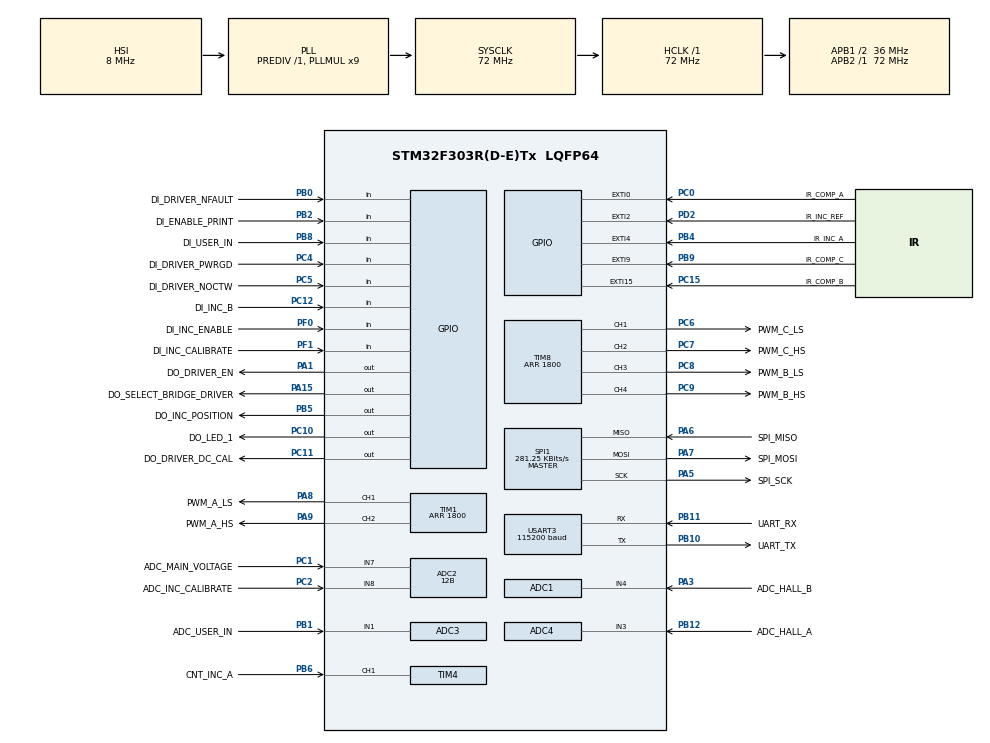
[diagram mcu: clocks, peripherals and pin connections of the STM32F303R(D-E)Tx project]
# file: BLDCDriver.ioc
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ADC1.Channel-0\#ChannelRegularConversion=ADC_CHANNEL_4
ADC1.ClockPrescaler=ADC_CLOCK_ASYNC_DIV1
ADC1.ContinuousConvMode=ENABLE
ADC1.DMAContinuousRequests=ENABLE
ADC1.DataAlign=ADC_DATAALIGN_RIGHT
ADC1.DiscontinuousConvMode=DISABLE
ADC1.EOCSelection=ADC_EOC_SEQ_CONV
ADC1.EnableAnalogWatchDog1=false
ADC1.EnableAnalogWatchDog2=false
ADC1.EnableAnalogWatchDog3=false
ADC1.EnableInjectedConversion=DISABLE
ADC1.EnableRegularConversion=ENABLE
ADC1.ExternalTrigConv=ADC_SOFTWARE_START
ADC1.ExternalTrigConvEdge=ADC_EXTERNALTRIGCONVEDGE_NONE
ADC1.LowPowerAutoWait=DISABLE
ADC1.NbrOfConversion=1
ADC1.NbrOfConversionFlag=1
ADC1.Offset-0\#ChannelRegularConversion=0
ADC1.OffsetNumber-0\#ChannelRegularConversion=ADC_OFFSET_NONE
ADC1.Overrun=ADC_OVR_DATA_OVERWRITTEN
ADC1.Rank-0\#ChannelRegularConversion=1
ADC1.Resolution=ADC_RESOLUTION_12B
ADC1.SamplingTime-0\#ChannelRegularConversion=ADC_SAMPLETIME_601CYCLES_5
ADC1.ScanConvMode=ADC_SCAN_DISABLE
ADC1.master=1
ADC2.Channel-0\#ChannelRegularConversion=ADC_CHANNEL_7
ADC2.Channel-1\#ChannelRegularConversion=ADC_CHANNEL_8
ADC2.ClockPrescaler=ADC_CLOCK_ASYNC_DIV1
ADC2.ContinuousConvMode=DISABLE
ADC2.DMAContinuousRequests=DISABLE
ADC2.DataAlign=ADC_DATAALIGN_RIGHT
ADC2.DiscontinuousConvMode=DISABLE
ADC2.EOCSelection=ADC_EOC_SINGLE_CONV
ADC2.EnableAnalogWatchDog1=false
ADC2.EnableAnalogWatchDog2=false
ADC2.EnableAnalogWatchDog3=false
ADC2.EnableInjectedConversion=ENABLE
ADC2.EnableRegularConversion=ENABLE
ADC2.ExternalTrigConv=ADC_SOFTWARE_START
ADC2.ExternalTrigConvEdge=ADC_EXTERNALTRIGCONVEDGE_NONE
ADC2.InjNumberOfConversion=0
ADC2.LowPowerAutoWait=DISABLE
ADC2.NbrOfConversion=2
ADC2.NbrOfConversionFlag=1
ADC2.Offset-0\#ChannelRegularConversion=0
ADC2.Offset-1\#ChannelRegularConversion=0
ADC2.OffsetNumber-0\#ChannelRegularConversion=ADC_OFFSET_NONE
ADC2.OffsetNumber-1\#ChannelRegularConversion=ADC_OFFSET_NONE
ADC2.Overrun=ADC_OVR_DATA_OVERWRITTEN
ADC2.Rank-0\#ChannelRegularConversion=1
ADC2.Rank-1\#ChannelRegularConversion=2
ADC2.Resolution=ADC_RESOLUTION_12B
ADC2.SamplingTime-0\#ChannelRegularConversion=ADC_SAMPLETIME_601CYCLES_5
ADC2.SamplingTime-1\#ChannelRegularConversion=ADC_SAMPLETIME_601CYCLES_5
ADC2.ScanConvMode=ADC_SCAN_ENABLE
ADC3.Channel-64\#ChannelRegularConversion=ADC_CHANNEL_1
ADC3.NbrOfConversionFlag=1
ADC3.Offset-64\#ChannelRegularConversion=0
ADC3.OffsetNumber-64\#ChannelRegularConversion=ADC_OFFSET_NONE
ADC3.Rank-64\#ChannelRegularConversion=1
ADC3.SamplingTime-64\#ChannelRegularConversion=ADC_SAMPLETIME_1CYCLE_5
ADC3.master=1
ADC4.Channel-0\#ChannelRegularConversion=ADC_CHANNEL_3
ADC4.ClockPrescaler=ADC_CLOCK_ASYNC_DIV1
ADC4.ContinuousConvMode=ENABLE
ADC4.DMAContinuousRequests=ENABLE
ADC4.DataAlign=ADC_DATAALIGN_RIGHT
ADC4.DiscontinuousConvMode=DISABLE
ADC4.EOCSelection=ADC_EOC_SEQ_CONV
ADC4.EnableAnalogWatchDog1=false
ADC4.EnableAnalogWatchDog2=false
ADC4.EnableAnalogWatchDog3=false
ADC4.EnableInjectedConversion=DISABLE
ADC4.EnableRegularConversion=ENABLE
ADC4.ExternalTrigConv=ADC_SOFTWARE_START
ADC4.ExternalTrigConvEdge=ADC_EXTERNALTRIGCONVEDGE_NONE
ADC4.LowPowerAutoWait=DISABLE
ADC4.NbrOfConversion=1
ADC4.NbrOfConversionFlag=1
ADC4.Offset-0\#ChannelRegularConversion=0
ADC4.OffsetNumber-0\#ChannelRegularConversion=ADC_OFFSET_NONE
ADC4.Overrun=ADC_OVR_DATA_OVERWRITTEN
ADC4.Rank-0\#ChannelRegularConversion=1
ADC4.Resolution=ADC_RESOLUTION_12B
ADC4.SamplingTime-0\#ChannelRegularConversion=ADC_SAMPLETIME_601CYCLES_5
ADC4.ScanConvMode=ADC_SCAN_DISABLE
Dma.ADC1.1.Direction=DMA_PERIPH_TO_MEMORY
Dma.ADC1.1.Instance=DMA1_Channel1
Dma.ADC1.1.MemDataAlignment=DMA_MDATAALIGN_WORD
Dma.ADC1.1.MemInc=DMA_MINC_ENABLE
Dma.ADC1.1.Mode=DMA_NORMAL
Dma.ADC1.1.PeriphDataAlignment=DMA_PDATAALIGN_WORD
Dma.ADC1.1.PeriphInc=DMA_PINC_DISABLE
Dma.ADC1.1.Priority=DMA_PRIORITY_LOW
Dma.ADC4.0.Direction=DMA_PERIPH_TO_MEMORY
Dma.ADC4.0.Instance=DMA2_Channel2
Dma.ADC4.0.MemDataAlignment=DMA_MDATAALIGN_WORD
Dma.ADC4.0.MemInc=DMA_MINC_ENABLE
Dma.ADC4.0.Mode=DMA_NORMAL
Dma.ADC4.0.PeriphDataAlignment=DMA_PDATAALIGN_WORD
Dma.ADC4.0.PeriphInc=DMA_PINC_DISABLE
Dma.ADC4.0.Priority=DMA_PRIORITY_LOW
Dma.Request0=ADC4
Dma.Request1=ADC1
Mcu.Family=STM32F3
Mcu.Name=STM32F303R(D-E)Tx
Mcu.Package=LQFP64
NVIC.ADC1_2_IRQn=true\:0\:0\:false\:false\:true\:true
NVIC.ADC3_IRQn=true\:0\:0\:false\:false\:true\:true
NVIC.DMA1_Channel1_IRQn=true\:0\:0\:false\:false\:true\:false
NVIC.DMA2_Channel2_IRQn=true\:0\:0\:false\:false\:true\:false
NVIC.EXTI0_IRQn=true\:0\:0\:false\:false\:true\:true
NVIC.EXTI15_10_IRQn=true\:0\:0\:false\:false\:true\:true
NVIC.EXTI2_TSC_IRQn=true\:0\:0\:false\:false\:true\:true
NVIC.EXTI4_IRQn=true\:0\:0\:false\:false\:true\:true
NVIC.EXTI9_5_IRQn=true\:0\:0\:false\:false\:true\:true
NVIC.PriorityGroup=NVIC_PRIORITYGROUP_4
NVIC.TIM1_UP_TIM16_IRQn=true\:0\:0\:false\:false\:true\:true
NVIC.TIM2_IRQn=true\:0\:0\:false\:false\:true\:true
NVIC.USART3_IRQn=true\:0\:0\:false\:false\:true\:true
PA1.GPIO_Label=DO_DRIVER_EN
PA1.Signal=GPIO_Output
PA13.Mode=Trace_Asynchronous_SW
PA13.Signal=SYS_JTMS-SWDIO
PA14.Mode=Trace_Asynchronous_SW
PA14.Signal=SYS_JTCK-SWCLK
PA15.GPIO_Label=DO_SELECT_BRIDGE_DRIVER
PA15.Signal=GPIO_Output
PA3.GPIO_Label=ADC_HALL_B
PA3.Mode=IN4-Single-Ended
PA3.Signal=ADC1_IN4
PA5.GPIO_Label=SPI_SCK
PA5.Mode=Full_Duplex_Master
PA5.Signal=SPI1_SCK
PA6.GPIO_Label=SPI_MISO
PA6.Mode=Full_Duplex_Master
PA6.Signal=SPI1_MISO
PA7.GPIO_Label=SPI_MOSI
PA7.Mode=Full_Duplex_Master
PA7.Signal=SPI1_MOSI
PA8.GPIO_Label=PWM_A_LS
PA8.Signal=S_TIM1_CH1
PA9.GPIO_Label=PWM_A_HS
PA9.Signal=S_TIM1_CH2
PB0.GPIO_Label=DI_DRIVER_NFAULT
PB0.Signal=GPIO_Input
PB1.GPIO_Label=ADC_USER_IN
PB1.Mode=IN1-Single-Ended
PB1.Signal=ADC3_IN1
PB10.GPIO_Label=UART_TX
PB10.Mode=Asynchronous
PB10.Signal=USART3_TX
PB11.GPIO_Label=UART_RX
PB11.Mode=Asynchronous
PB11.Signal=USART3_RX
PB12.GPIO_Label=ADC_HALL_A
PB12.Mode=IN3-Single-Ended
PB12.Signal=ADC4_IN3
PB2.GPIO_Label=DI_ENABLE_PRINT
PB2.Signal=GPIO_Input
PB3.Mode=Trace_Asynchronous_SW
PB3.Signal=SYS_JTDO-TRACESWO
PB4.GPIO_Label=IR_INC_A
PB4.Signal=GPXTI4
PB5.GPIO_Label=DO_INC_POSITION
PB5.Signal=GPIO_Output
PB6.GPIO_Label=CNT_INC_A
PB6.Signal=S_TIM4_CH1
PB8.GPIO_Label=DI_USER_IN
PB8.Signal=GPIO_Input
PB9.GPIO_Label=IR_COMP_C
PB9.GPIO_ModeDefaultEXTI=GPIO_MODE_IT_RISING_FALLING
PB9.Signal=GPXTI9
PC0.GPIO_Label=IR_COMP_A
PC0.GPIO_ModeDefaultEXTI=GPIO_MODE_IT_RISING_FALLING
PC0.Signal=GPXTI0
PC1.GPIO_Label=ADC_MAIN_VOLTAGE
PC1.Signal=ADCx_IN7
PC10.GPIO_Label=DO_LED_1
PC10.Signal=GPIO_Output
PC11.GPIO_Label=DO_DRIVER_DC_CAL
PC11.Signal=GPIO_Output
PC12.GPIO_Label=DI_INC_B
PC12.Signal=GPIO_Input
PC15-OSC32_OUT.GPIO_Label=IR_COMP_B
PC15-OSC32_OUT.GPIO_ModeDefaultEXTI=GPIO_MODE_IT_RISING_FALLING
PC15-OSC32_OUT.Signal=GPXTI15
PC2.GPIO_Label=ADC_INC_CALIBRATE
PC2.Signal=ADCx_IN8
PC4.GPIO_Label=DI_DRIVER_PWRGD
PC4.Signal=GPIO_Input
PC5.GPIO_Label=DI_DRIVER_NOCTW
PC5.Signal=GPIO_Input
PC6.GPIO_Label=PWM_C_LS
PC6.Signal=S_TIM8_CH1
PC7.GPIO_Label=PWM_C_HS
PC7.Signal=S_TIM8_CH2
PC8.GPIO_Label=PWM_B_LS
PC8.Signal=S_TIM8_CH3
PC9.GPIO_Label=PWM_B_HS
PC9.Signal=S_TIM8_CH4
PD2.GPIO_Label=IR_INC_REF
PD2.Signal=GPXTI2
PF0-OSC_IN.GPIO_Label=DI_INC_ENABLE
PF0-OSC_IN.Signal=GPIO_Input
PF1-OSC_OUT.GPIO_Label=DI_INC_CALIBRATE
PF1-OSC_OUT.Signal=GPIO_Input
ProjectManager.HeapSize=0x200
ProjectManager.StackSize=0x400
ProjectManager.TargetToolchain=SW4STM32
RCC.AHBFreq_Value=72000000
RCC.APB1CLKDivider=RCC_HCLK_DIV2
RCC.APB1Freq_Value=36000000
RCC.APB1TimFreq_Value=72000000
RCC.APB2Freq_Value=72000000
RCC.APB2TimFreq_Value=72000000
RCC.CortexFreq_Value=72000000
RCC.HCLKFreq_Value=72000000
RCC.HSE_VALUE=8000000
RCC.HSI_VALUE=8000000
RCC.LSE_VALUE=32768
RCC.PLLMUL=RCC_PLL_MUL9
RCC.SYSCLKFreq_VALUE=72000000
RCC.SYSCLKSourceVirtual=RCC_SYSCLKSOURCE_PLLCLK
RCC.USBFreq_Value=72000000
SH.ADCx_IN7.0=ADC2_IN7,IN7-Single-Ended
SH.ADCx_IN8.0=ADC2_IN8,IN8-Single-Ended
SH.S_TIM1_CH1.0=TIM1_CH1,PWM Generation1 CH1
SH.S_TIM1_CH2.0=TIM1_CH2,PWM Generation2 CH2
SH.S_TIM4_CH1.0=TIM4_CH1,TriggerSource_TI1FP1
SH.S_TIM8_CH1.0=TIM8_CH1,PWM Generation1 CH1
SH.S_TIM8_CH2.0=TIM8_CH2,PWM Generation2 CH2
SH.S_TIM8_CH3.0=TIM8_CH3,PWM Generation3 CH3
SH.S_TIM8_CH4.0=TIM8_CH4,PWM Generation4 CH4
SPI1.BaudRatePrescaler=SPI_BAUDRATEPRESCALER_256
SPI1.CalculateBaudRate=281.25 KBits/s
SPI1.DataSize=SPI_DATASIZE_8BIT
SPI1.Direction=SPI_DIRECTION_2LINES
SPI1.Mode=SPI_MODE_MASTER
SPI1.VirtualType=VM_MASTER
TIM1.Channel-PWM\ Generation1\ CH1=TIM_CHANNEL_1
TIM1.Channel-PWM\ Generation2\ CH2=TIM_CHANNEL_2
TIM1.CounterMode=TIM_COUNTERMODE_CENTERALIGNED3
TIM1.Period=1800
TIM1.Pulse-PWM\ Generation1\ CH1=900
TIM1.Pulse-PWM\ Generation2\ CH2=900
TIM2.Period=0xFFFFFFFF
TIM2.Prescaler=72
TIM8.Channel-PWM\ Generation1\ CH1=TIM_CHANNEL_1
TIM8.Channel-PWM\ Generation2\ CH2=TIM_CHANNEL_2
TIM8.Channel-PWM\ Generation3\ CH3=TIM_CHANNEL_3
TIM8.Channel-PWM\ Generation4\ CH4=TIM_CHANNEL_4
TIM8.CounterMode=TIM_COUNTERMODE_CENTERALIGNED3
TIM8.Period=1800
TIM8.Pulse-PWM\ Generation1\ CH1=900
TIM8.Pulse-PWM\ Generation3\ CH3=900
USART3.BaudRate=115200
USART3.Mode=MODE_TX_RX
USART3.VirtualMode-Asynchronous=VM_ASYNC
USART3.WordLength=WORDLENGTH_8B
VP_TIM2_VS_ClockSourceINT.Mode=Internal
VP_TIM4_VS_ControllerModeClock.Mode=Clock Mode
board=BLDCDriver

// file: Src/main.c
/**
  ******************************************************************************
  * File Name          : main.c
  * Description        : Main program body
  ******************************************************************************
  ** This notice applies to any and all portions of this file
  * that are not between comment pairs USER CODE BEGIN and
  * USER CODE END. Other portions of this file, whether
  * inserted by the user or by software development tools
  * are owned by their respective copyright owners.
  *
  * COPYRIGHT(c) 2018 STMicroelectronics
  *
  * Redistribution and use in source and binary forms, with or without modification,
  * are permitted provided that the following conditions are met:
  *   1. Redistributions of source code must retain the above copyright notice,
  *      this list of conditions and the following disclaimer.
  *   2. Redistributions in binary form must reproduce the above copyright notice,
  *      this list of conditions and the following disclaimer in the documentation
  *      and/or other materials provided with the distribution.
  *   3. Neither the name of STMicroelectronics nor the names of its contributors
  *      may be used to endorse or promote products derived from this software
  *      without specific prior written permission.
  *
  * THIS SOFTWARE IS PROVIDED BY THE COPYRIGHT HOLDERS AND CONTRIBUTORS "AS IS"
  * AND ANY EXPRESS OR IMPLIED WARRANTIES, INCLUDING, BUT NOT LIMITED TO, THE
  * IMPLIED WARRANTIES OF MERCHANTABILITY AND FITNESS FOR A PARTICULAR PURPOSE ARE
  * DISCLAIMED. IN NO EVENT SHALL THE COPYRIGHT HOLDER OR CONTRIBUTORS BE LIABLE
  * FOR ANY DIRECT, INDIRECT, INCIDENTAL, SPECIAL, EXEMPLARY, OR CONSEQUENTIAL
  * DAMAGES (INCLUDING, BUT NOT LIMITED TO, PROCUREMENT OF SUBSTITUTE GOODS OR
  * SERVICES; LOSS OF USE, DATA, OR PROFITS; OR BUSINESS INTERRUPTION) HOWEVER
  * CAUSED AND ON ANY THEORY OF LIABILITY, WHETHER IN CONTRACT, STRICT LIABILITY,
  * OR TORT (INCLUDING NEGLIGENCE OR OTHERWISE) ARISING IN ANY WAY OUT OF THE USE
  * OF THIS SOFTWARE, EVEN IF ADVISED OF THE POSSIBILITY OF SUCH DAMAGE.
  *
  ******************************************************************************
  */

#include "main.h"
#include "stm32f3xx_hal.h"

/* USER CODE BEGIN Includes */
#include "platformAPI.h"
#include "platformAdapter.h"
/* USER CODE END Includes */

ADC_HandleTypeDef hadc1;
ADC_HandleTypeDef hadc2;
ADC_HandleTypeDef hadc3;
ADC_HandleTypeDef hadc4;
DMA_HandleTypeDef hdma_adc1;
DMA_HandleTypeDef hdma_adc4;

SPI_HandleTypeDef hspi1;

TIM_HandleTypeDef htim1;
TIM_HandleTypeDef htim2;
TIM_HandleTypeDef htim4;
TIM_HandleTypeDef htim8;

UART_HandleTypeDef huart3;

/* USER CODE BEGIN PV */
/* Private variables ---------------------------------------------------------*/

/* USER CODE END PV */

void SystemClock_Config(void);
static void MX_GPIO_Init(void);
static void MX_DMA_Init(void);
static void MX_SPI1_Init(void);
static void MX_TIM8_Init(void);
static void MX_USART3_UART_Init(void);
static void MX_ADC1_Init(void);
static void MX_ADC4_Init(void);
static void MX_TIM2_Init(void);
static void MX_ADC2_Init(void);
static void MX_ADC3_Init(void);
static void MX_TIM1_Init(void);
static void MX_TIM4_Init(void);

void HAL_TIM_MspPostInit(TIM_HandleTypeDef *htim);

/* USER CODE BEGIN PFP */
/* Private function prototypes -----------------------------------------------*/

/* USER CODE END PFP */

int main(void)
{

  /* MCU Configuration----------------------------------------------------------*/

  /* Reset of all peripherals, Initializes the Flash interface and the Systick. */
  HAL_Init();

  /* USER CODE BEGIN Init */
	pHallB_ADC_handle = &hadc1;
	pHallA_ADC_handle = &hadc4;
	pUser_ADC_handle = &hadc3;
	pMainVoltage_EncoderPoti_ADC_handle = &hadc2;

	pPWM_handle_A = &htim1;
	pPWM_handle_B_and_C = &htim8;

	pSystemtime_Timer_handle = &htim2;
	pEncoder_Counter_handle = &htim4;

	pSPI_handle = &hspi1;

	pUART_handle = &huart3;
  /* USER CODE END Init */

  /* Configure the system clock */
  SystemClock_Config();

  /* Initialize all configured peripherals */
  MX_GPIO_Init();
  MX_DMA_Init();
  MX_SPI1_Init();
  MX_TIM8_Init();
  MX_USART3_UART_Init();
  MX_ADC1_Init();
  MX_ADC4_Init();
  MX_TIM2_Init();
  MX_ADC2_Init();
  MX_ADC3_Init();
  MX_TIM1_Init();
  MX_TIM4_Init();

  /* USER CODE BEGIN 2 */
	startupPlatform();
  /* USER CODE END 2 */

  /* Infinite loop */
  /* USER CODE BEGIN WHILE */
	while (1) {
		proceedPlatform();
  /* USER CODE END WHILE */

	}

}

/** System Clock Configuration
*/
void SystemClock_Config(void)
{

  RCC_OscInitTypeDef RCC_OscInitStruct;
  RCC_ClkInitTypeDef RCC_ClkInitStruct;
  RCC_PeriphCLKInitTypeDef PeriphClkInit;

    /**Initializes the CPU, AHB and APB busses clocks
    */
  RCC_OscInitStruct.OscillatorType = RCC_OSCILLATORTYPE_HSI;
  RCC_OscInitStruct.HSIState = RCC_HSI_ON;
  RCC_OscInitStruct.HSICalibrationValue = 16;
  RCC_OscInitStruct.PLL.PLLState = RCC_PLL_ON;
  RCC_OscInitStruct.PLL.PLLSource = RCC_PLLSOURCE_HSI;
  RCC_OscInitStruct.PLL.PLLMUL = RCC_PLL_MUL9;
  RCC_OscInitStruct.PLL.PREDIV = RCC_PREDIV_DIV1;
  if (HAL_RCC_OscConfig(&RCC_OscInitStruct) != HAL_OK)
  {
    _Error_Handler(__FILE__, __LINE__);
  }

    /**Initializes the CPU, AHB and APB busses clocks
    */
  RCC_ClkInitStruct.ClockType = RCC_CLOCKTYPE_HCLK|RCC_CLOCKTYPE_SYSCLK
                              |RCC_CLOCKTYPE_PCLK1|RCC_CLOCKTYPE_PCLK2;
  RCC_ClkInitStruct.SYSCLKSource = RCC_SYSCLKSOURCE_PLLCLK;
  RCC_ClkInitStruct.AHBCLKDivider = RCC_SYSCLK_DIV1;
  RCC_ClkInitStruct.APB1CLKDivider = RCC_HCLK_DIV2;
  RCC_ClkInitStruct.APB2CLKDivider = RCC_HCLK_DIV1;

  if (HAL_RCC_ClockConfig(&RCC_ClkInitStruct, FLASH_LATENCY_2) != HAL_OK)
  {
    _Error_Handler(__FILE__, __LINE__);
  }

  PeriphClkInit.PeriphClockSelection = RCC_PERIPHCLK_USART3|RCC_PERIPHCLK_TIM1
                              |RCC_PERIPHCLK_TIM8|RCC_PERIPHCLK_ADC12
                              |RCC_PERIPHCLK_ADC34|RCC_PERIPHCLK_TIM2
                              |RCC_PERIPHCLK_TIM34;
  PeriphClkInit.Usart3ClockSelection = RCC_USART3CLKSOURCE_PCLK1;
  PeriphClkInit.Adc12ClockSelection = RCC_ADC12PLLCLK_DIV1;
  PeriphClkInit.Adc34ClockSelection = RCC_ADC34PLLCLK_DIV1;
  PeriphClkInit.Tim1ClockSelection = RCC_TIM1CLK_HCLK;
  PeriphClkInit.Tim8ClockSelection = RCC_TIM8CLK_HCLK;
  PeriphClkInit.Tim2ClockSelection = RCC_TIM2CLK_HCLK;
  PeriphClkInit.Tim34ClockSelection = RCC_TIM34CLK_HCLK;
  if (HAL_RCCEx_PeriphCLKConfig(&PeriphClkInit) != HAL_OK)
  {
    _Error_Handler(__FILE__, __LINE__);
  }

    /**Configure the Systick interrupt time
    */
  HAL_SYSTICK_Config(HAL_RCC_GetHCLKFreq()/1000);

    /**Configure the Systick
    */
  HAL_SYSTICK_CLKSourceConfig(SYSTICK_CLKSOURCE_HCLK);

  /* SysTick_IRQn interrupt configuration */
  HAL_NVIC_SetPriority(SysTick_IRQn, 0, 0);
}

/* ADC1 init function */
static void MX_ADC1_Init(void)
{

  ADC_MultiModeTypeDef multimode;
  ADC_ChannelConfTypeDef sConfig;

    /**Common config
    */
  hadc1.Instance = ADC1;
  hadc1.Init.ClockPrescaler = ADC_CLOCK_ASYNC_DIV1;
  hadc1.Init.Resolution = ADC_RESOLUTION_12B;
  hadc1.Init.ScanConvMode = ADC_SCAN_DISABLE;
  hadc1.Init.ContinuousConvMode = ENABLE;
  hadc1.Init.DiscontinuousConvMode = DISABLE;
  hadc1.Init.ExternalTrigConvEdge = ADC_EXTERNALTRIGCONVEDGE_NONE;
  hadc1.Init.ExternalTrigConv = ADC_SOFTWARE_START;
  hadc1.Init.DataAlign = ADC_DATAALIGN_RIGHT;
  hadc1.Init.NbrOfConversion = 1;
  hadc1.Init.DMAContinuousRequests = ENABLE;
  hadc1.Init.EOCSelection = ADC_EOC_SEQ_CONV;
  hadc1.Init.LowPowerAutoWait = DISABLE;
  hadc1.Init.Overrun = ADC_OVR_DATA_OVERWRITTEN;
  if (HAL_ADC_Init(&hadc1) != HAL_OK)
  {
    _Error_Handler(__FILE__, __LINE__);
  }

    /**Configure the ADC multi-mode
    */
  multimode.Mode = ADC_MODE_INDEPENDENT;
  if (HAL_ADCEx_MultiModeConfigChannel(&hadc1, &multimode) != HAL_OK)
  {
    _Error_Handler(__FILE__, __LINE__);
  }

    /**Configure Regular Channel
    */
  sConfig.Channel = ADC_CHANNEL_4;
  sConfig.Rank = 1;
  sConfig.SingleDiff = ADC_SINGLE_ENDED;
  sConfig.SamplingTime = ADC_SAMPLETIME_601CYCLES_5;
  sConfig.OffsetNumber = ADC_OFFSET_NONE;
  sConfig.Offset = 0;
  if (HAL_ADC_ConfigChannel(&hadc1, &sConfig) != HAL_OK)
  {
    _Error_Handler(__FILE__, __LINE__);
  }

}

/* ADC2 init function */
static void MX_ADC2_Init(void)
{

  ADC_ChannelConfTypeDef sConfig;

    /**Common config
    */
  hadc2.Instance = ADC2;
  hadc2.Init.ClockPrescaler = ADC_CLOCK_ASYNC_DIV1;
  hadc2.Init.Resolution = ADC_RESOLUTION_12B;
  hadc2.Init.ScanConvMode = ADC_SCAN_ENABLE;
  hadc2.Init.ContinuousConvMode = DISABLE;
  hadc2.Init.DiscontinuousConvMode = DISABLE;
  hadc2.Init.ExternalTrigConvEdge = ADC_EXTERNALTRIGCONVEDGE_NONE;
  hadc2.Init.ExternalTrigConv = ADC_SOFTWARE_START;
  hadc2.Init.DataAlign = ADC_DATAALIGN_RIGHT;
  hadc2.Init.NbrOfConversion = 2;
  hadc2.Init.DMAContinuousRequests = DISABLE;
  hadc2.Init.EOCSelection = ADC_EOC_SINGLE_CONV;
  hadc2.Init.LowPowerAutoWait = DISABLE;
  hadc2.Init.Overrun = ADC_OVR_DATA_OVERWRITTEN;
  if (HAL_ADC_Init(&hadc2) != HAL_OK)
  {
    _Error_Handler(__FILE__, __LINE__);
  }

    /**Configure Regular Channel
    */
  sConfig.Channel = ADC_CHANNEL_7;
  sConfig.Rank = 1;
  sConfig.SingleDiff = ADC_SINGLE_ENDED;
  sConfig.SamplingTime = ADC_SAMPLETIME_601CYCLES_5;
  sConfig.OffsetNumber = ADC_OFFSET_NONE;
  sConfig.Offset = 0;
  if (HAL_ADC_ConfigChannel(&hadc2, &sConfig) != HAL_OK)
  {
    _Error_Handler(__FILE__, __LINE__);
  }

    /**Configure Regular Channel
    */
  sConfig.Channel = ADC_CHANNEL_8;
  sConfig.Rank = 2;
  if (HAL_ADC_ConfigChannel(&hadc2, &sConfig) != HAL_OK)
  {
    _Error_Handler(__FILE__, __LINE__);
  }

}

/* ADC3 init function */
static void MX_ADC3_Init(void)
{

  ADC_MultiModeTypeDef multimode;
  ADC_ChannelConfTypeDef sConfig;

    /**Common config
    */
  hadc3.Instance = ADC3;
  hadc3.Init.ClockPrescaler = ADC_CLOCK_ASYNC_DIV1;
  hadc3.Init.Resolution = ADC_RESOLUTION_12B;
  hadc3.Init.ScanConvMode = ADC_SCAN_DISABLE;
  hadc3.Init.ContinuousConvMode = DISABLE;
  hadc3.Init.DiscontinuousConvMode = DISABLE;
  hadc3.Init.ExternalTrigConvEdge = ADC_EXTERNALTRIGCONVEDGE_NONE;
  hadc3.Init.ExternalTrigConv = ADC_SOFTWARE_START;
  hadc3.Init.DataAlign = ADC_DATAALIGN_RIGHT;
  hadc3.Init.NbrOfConversion = 1;
  hadc3.Init.DMAContinuousRequests = DISABLE;
  hadc3.Init.EOCSelection = ADC_EOC_SINGLE_CONV;
  hadc3.Init.LowPowerAutoWait = DISABLE;
  hadc3.Init.Overrun = ADC_OVR_DATA_OVERWRITTEN;
  if (HAL_ADC_Init(&hadc3) != HAL_OK)
  {
    _Error_Handler(__FILE__, __LINE__);
  }

    /**Configure the ADC multi-mode
    */
  multimode.Mode = ADC_MODE_INDEPENDENT;
  if (HAL_ADCEx_MultiModeConfigChannel(&hadc3, &multimode) != HAL_OK)
  {
    _Error_Handler(__FILE__, __LINE__);
  }

    /**Configure Regular Channel
    */
  sConfig.Channel = ADC_CHANNEL_1;
  sConfig.Rank = 1;
  sConfig.SingleDiff = ADC_SINGLE_ENDED;
  sConfig.SamplingTime = ADC_SAMPLETIME_1CYCLE_5;
  sConfig.OffsetNumber = ADC_OFFSET_NONE;
  sConfig.Offset = 0;
  if (HAL_ADC_ConfigChannel(&hadc3, &sConfig) != HAL_OK)
  {
    _Error_Handler(__FILE__, __LINE__);
  }

}

/* ADC4 init function */
static void MX_ADC4_Init(void)
{

  ADC_ChannelConfTypeDef sConfig;

    /**Common config
    */
  hadc4.Instance = ADC4;
  hadc4.Init.ClockPrescaler = ADC_CLOCK_ASYNC_DIV1;
  hadc4.Init.Resolution = ADC_RESOLUTION_12B;
  hadc4.Init.ScanConvMode = ADC_SCAN_DISABLE;
  hadc4.Init.ContinuousConvMode = ENABLE;
  hadc4.Init.DiscontinuousConvMode = DISABLE;
  hadc4.Init.ExternalTrigConvEdge = ADC_EXTERNALTRIGCONVEDGE_NONE;
  hadc4.Init.ExternalTrigConv = ADC_SOFTWARE_START;
  hadc4.Init.DataAlign = ADC_DATAALIGN_RIGHT;
  hadc4.Init.NbrOfConversion = 1;
  hadc4.Init.DMAContinuousRequests = ENABLE;
  hadc4.Init.EOCSelection = ADC_EOC_SEQ_CONV;
  hadc4.Init.LowPowerAutoWait = DISABLE;
  hadc4.Init.Overrun = ADC_OVR_DATA_OVERWRITTEN;
  if (HAL_ADC_Init(&hadc4) != HAL_OK)
  {
    _Error_Handler(__FILE__, __LINE__);
  }

    /**Configure Regular Channel
    */
  sConfig.Channel = ADC_CHANNEL_3;
  sConfig.Rank = 1;
  sConfig.SingleDiff = ADC_SINGLE_ENDED;
  sConfig.SamplingTime = ADC_SAMPLETIME_601CYCLES_5;
  sConfig.OffsetNumber = ADC_OFFSET_NONE;
  sConfig.Offset = 0;
  if (HAL_ADC_ConfigChannel(&hadc4, &sConfig) != HAL_OK)
  {
    _Error_Handler(__FILE__, __LINE__);
  }

}

/* SPI1 init function */
static void MX_SPI1_Init(void)
{

  /* SPI1 parameter configuration*/
  hspi1.Instance = SPI1;
  hspi1.Init.Mode = SPI_MODE_MASTER;
  hspi1.Init.Direction = SPI_DIRECTION_2LINES;
  hspi1.Init.DataSize = SPI_DATASIZE_8BIT;
  hspi1.Init.CLKPolarity = SPI_POLARITY_LOW;
  hspi1.Init.CLKPhase = SPI_PHASE_1EDGE;
  hspi1.Init.NSS = SPI_NSS_SOFT;
  hspi1.Init.BaudRatePrescaler = SPI_BAUDRATEPRESCALER_256;
  hspi1.Init.FirstBit = SPI_FIRSTBIT_MSB;
  hspi1.Init.TIMode = SPI_TIMODE_DISABLE;
  hspi1.Init.CRCCalculation = SPI_CRCCALCULATION_DISABLE;
  hspi1.Init.CRCPolynomial = 7;
  hspi1.Init.CRCLength = SPI_CRC_LENGTH_DATASIZE;
  hspi1.Init.NSSPMode = SPI_NSS_PULSE_ENABLE;
  if (HAL_SPI_Init(&hspi1) != HAL_OK)
  {
    _Error_Handler(__FILE__, __LINE__);
  }

}

/* TIM1 init function */
static void MX_TIM1_Init(void)
{

  TIM_MasterConfigTypeDef sMasterConfig;
  TIM_OC_InitTypeDef sConfigOC;
  TIM_BreakDeadTimeConfigTypeDef sBreakDeadTimeConfig;

  htim1.Instance = TIM1;
  htim1.Init.Prescaler = 0;
  htim1.Init.CounterMode = TIM_COUNTERMODE_CENTERALIGNED3;
  htim1.Init.Period = 1800;
  htim1.Init.ClockDivision = TIM_CLOCKDIVISION_DIV1;
  htim1.Init.RepetitionCounter = 0;
  htim1.Init.AutoReloadPreload = TIM_AUTORELOAD_PRELOAD_DISABLE;
  if (HAL_TIM_PWM_Init(&htim1) != HAL_OK)
  {
    _Error_Handler(__FILE__, __LINE__);
  }

  sMasterConfig.MasterOutputTrigger = TIM_TRGO_RESET;
  sMasterConfig.MasterOutputTrigger2 = TIM_TRGO2_RESET;
  sMasterConfig.MasterSlaveMode = TIM_MASTERSLAVEMODE_DISABLE;
  if (HAL_TIMEx_MasterConfigSynchronization(&htim1, &sMasterConfig) != HAL_OK)
  {
    _Error_Handler(__FILE__, __LINE__);
  }

  sConfigOC.OCMode = TIM_OCMODE_PWM1;
  sConfigOC.Pulse = 900;
  sConfigOC.OCPolarity = TIM_OCPOLARITY_HIGH;
  sConfigOC.OCNPolarity = TIM_OCNPOLARITY_HIGH;
  sConfigOC.OCFastMode = TIM_OCFAST_DISABLE;
  sConfigOC.OCIdleState = TIM_OCIDLESTATE_RESET;
  sConfigOC.OCNIdleState = TIM_OCNIDLESTATE_RESET;
  if (HAL_TIM_PWM_ConfigChannel(&htim1, &sConfigOC, TIM_CHANNEL_1) != HAL_OK)
  {
    _Error_Handler(__FILE__, __LINE__);
  }

  if (HAL_TIM_PWM_ConfigChannel(&htim1, &sConfigOC, TIM_CHANNEL_2) != HAL_OK)
  {
    _Error_Handler(__FILE__, __LINE__);
  }

  sBreakDeadTimeConfig.OffStateRunMode = TIM_OSSR_DISABLE;
  sBreakDeadTimeConfig.OffStateIDLEMode = TIM_OSSI_DISABLE;
  sBreakDeadTimeConfig.LockLevel = TIM_LOCKLEVEL_OFF;
  sBreakDeadTimeConfig.DeadTime = 0;
  sBreakDeadTimeConfig.BreakState = TIM_BREAK_DISABLE;
  sBreakDeadTimeConfig.BreakPolarity = TIM_BREAKPOLARITY_HIGH;
  sBreakDeadTimeConfig.BreakFilter = 0;
  sBreakDeadTimeConfig.Break2State = TIM_BREAK2_DISABLE;
  sBreakDeadTimeConfig.Break2Polarity = TIM_BREAK2POLARITY_HIGH;
  sBreakDeadTimeConfig.Break2Filter = 0;
  sBreakDeadTimeConfig.AutomaticOutput = TIM_AUTOMATICOUTPUT_DISABLE;
  if (HAL_TIMEx_ConfigBreakDeadTime(&htim1, &sBreakDeadTimeConfig) != HAL_OK)
  {
    _Error_Handler(__FILE__, __LINE__);
  }

  HAL_TIM_MspPostInit(&htim1);

}

/* TIM2 init function */
static void MX_TIM2_Init(void)
{

  TIM_ClockConfigTypeDef sClockSourceConfig;
  TIM_MasterConfigTypeDef sMasterConfig;

  htim2.Instance = TIM2;
  htim2.Init.Prescaler = 72;
  htim2.Init.CounterMode = TIM_COUNTERMODE_UP;
  htim2.Init.Period = 0xFFFFFFFF;
  htim2.Init.ClockDivision = TIM_CLOCKDIVISION_DIV1;
  htim2.Init.AutoReloadPreload = TIM_AUTORELOAD_PRELOAD_DISABLE;
  if (HAL_TIM_Base_Init(&htim2) != HAL_OK)
  {
    _Error_Handler(__FILE__, __LINE__);
  }

  sClockSourceConfig.ClockSource = TIM_CLOCKSOURCE_INTERNAL;
  if (HAL_TIM_ConfigClockSource(&htim2, &sClockSourceConfig) != HAL_OK)
  {
    _Error_Handler(__FILE__, __LINE__);
  }

  sMasterConfig.MasterOutputTrigger = TIM_TRGO_RESET;
  sMasterConfig.MasterSlaveMode = TIM_MASTERSLAVEMODE_DISABLE;
  if (HAL_TIMEx_MasterConfigSynchronization(&htim2, &sMasterConfig) != HAL_OK)
  {
    _Error_Handler(__FILE__, __LINE__);
  }

}

/* TIM4 init function */
static void MX_TIM4_Init(void)
{

  TIM_SlaveConfigTypeDef sSlaveConfig;
  TIM_MasterConfigTypeDef sMasterConfig;

  htim4.Instance = TIM4;
  htim4.Init.Prescaler = 0;
  htim4.Init.CounterMode = TIM_COUNTERMODE_UP;
  htim4.Init.Period = 0;
  htim4.Init.ClockDivision = TIM_CLOCKDIVISION_DIV1;
  htim4.Init.AutoReloadPreload = TIM_AUTORELOAD_PRELOAD_DISABLE;
  if (HAL_TIM_Base_Init(&htim4) != HAL_OK)
  {
    _Error_Handler(__FILE__, __LINE__);
  }

  sSlaveConfig.SlaveMode = TIM_SLAVEMODE_EXTERNAL1;
  sSlaveConfig.InputTrigger = TIM_TS_TI1FP1;
  sSlaveConfig.TriggerPolarity = TIM_TRIGGERPOLARITY_RISING;
  sSlaveConfig.TriggerFilter = 0;
  if (HAL_TIM_SlaveConfigSynchronization(&htim4, &sSlaveConfig) != HAL_OK)
  {
    _Error_Handler(__FILE__, __LINE__);
  }

  sMasterConfig.MasterOutputTrigger = TIM_TRGO_RESET;
  sMasterConfig.MasterSlaveMode = TIM_MASTERSLAVEMODE_DISABLE;
  if (HAL_TIMEx_MasterConfigSynchronization(&htim4, &sMasterConfig) != HAL_OK)
  {
    _Error_Handler(__FILE__, __LINE__);
  }

}

/* TIM8 init function */
static void MX_TIM8_Init(void)
{

  TIM_MasterConfigTypeDef sMasterConfig;
  TIM_OC_InitTypeDef sConfigOC;
  TIM_BreakDeadTimeConfigTypeDef sBreakDeadTimeConfig;

  htim8.Instance = TIM8;
  htim8.Init.Prescaler = 0;
  htim8.Init.CounterMode = TIM_COUNTERMODE_CENTERALIGNED3;
  htim8.Init.Period = 1800;
  htim8.Init.ClockDivision = TIM_CLOCKDIVISION_DIV1;
  htim8.Init.RepetitionCounter = 0;
  htim8.Init.AutoReloadPreload = TIM_AUTORELOAD_PRELOAD_DISABLE;
  if (HAL_TIM_PWM_Init(&htim8) != HAL_OK)
  {
    _Error_Handler(__FILE__, __LINE__);
  }

  sMasterConfig.MasterOutputTrigger = TIM_TRGO_RESET;
  sMasterConfig.MasterOutputTrigger2 = TIM_TRGO2_RESET;
  sMasterConfig.MasterSlaveMode = TIM_MASTERSLAVEMODE_DISABLE;
  if (HAL_TIMEx_MasterConfigSynchronization(&htim8, &sMasterConfig) != HAL_OK)
  {
    _Error_Handler(__FILE__, __LINE__);
  }

  sConfigOC.OCMode = TIM_OCMODE_PWM1;
  sConfigOC.Pulse = 900;
  sConfigOC.OCPolarity = TIM_OCPOLARITY_HIGH;
  sConfigOC.OCNPolarity = TIM_OCNPOLARITY_HIGH;
  sConfigOC.OCFastMode = TIM_OCFAST_DISABLE;
  sConfigOC.OCIdleState = TIM_OCIDLESTATE_RESET;
  sConfigOC.OCNIdleState = TIM_OCNIDLESTATE_RESET;
  if (HAL_TIM_PWM_ConfigChannel(&htim8, &sConfigOC, TIM_CHANNEL_1) != HAL_OK)
  {
    _Error_Handler(__FILE__, __LINE__);
  }

  sConfigOC.Pulse = 0;
  if (HAL_TIM_PWM_ConfigChannel(&htim8, &sConfigOC, TIM_CHANNEL_2) != HAL_OK)
  {
    _Error_Handler(__FILE__, __LINE__);
  }

  sConfigOC.Pulse = 900;
  if (HAL_TIM_PWM_ConfigChannel(&htim8, &sConfigOC, TIM_CHANNEL_3) != HAL_OK)
  {
    _Error_Handler(__FILE__, __LINE__);
  }

  sConfigOC.Pulse = 0;
  if (HAL_TIM_PWM_ConfigChannel(&htim8, &sConfigOC, TIM_CHANNEL_4) != HAL_OK)
  {
    _Error_Handler(__FILE__, __LINE__);
  }

  sBreakDeadTimeConfig.OffStateRunMode = TIM_OSSR_DISABLE;
  sBreakDeadTimeConfig.OffStateIDLEMode = TIM_OSSI_DISABLE;
  sBreakDeadTimeConfig.LockLevel = TIM_LOCKLEVEL_OFF;
  sBreakDeadTimeConfig.DeadTime = 0;
  sBreakDeadTimeConfig.BreakState = TIM_BREAK_DISABLE;
  sBreakDeadTimeConfig.BreakPolarity = TIM_BREAKPOLARITY_HIGH;
  sBreakDeadTimeConfig.BreakFilter = 0;
  sBreakDeadTimeConfig.Break2State = TIM_BREAK2_DISABLE;
  sBreakDeadTimeConfig.Break2Polarity = TIM_BREAK2POLARITY_HIGH;
  sBreakDeadTimeConfig.Break2Filter = 0;
  sBreakDeadTimeConfig.AutomaticOutput = TIM_AUTOMATICOUTPUT_DISABLE;
  if (HAL_TIMEx_ConfigBreakDeadTime(&htim8, &sBreakDeadTimeConfig) != HAL_OK)
  {
    _Error_Handler(__FILE__, __LINE__);
  }

  HAL_TIM_MspPostInit(&htim8);

}

/* USART3 init function */
static void MX_USART3_UART_Init(void)
{

  huart3.Instance = USART3;
  huart3.Init.BaudRate = 115200;
  huart3.Init.WordLength = UART_WORDLENGTH_8B;
  huart3.Init.StopBits = UART_STOPBITS_1;
  huart3.Init.Parity = UART_PARITY_NONE;
  huart3.Init.Mode = UART_MODE_TX_RX;
  huart3.Init.HwFlowCtl = UART_HWCONTROL_NONE;
  huart3.Init.OverSampling = UART_OVERSAMPLING_16;
  huart3.Init.OneBitSampling = UART_ONE_BIT_SAMPLE_DISABLE;
  huart3.AdvancedInit.AdvFeatureInit = UART_ADVFEATURE_NO_INIT;
  if (HAL_UART_Init(&huart3) != HAL_OK)
  {
    _Error_Handler(__FILE__, __LINE__);
  }

}

static void MX_DMA_Init(void)
{
  /* DMA controller clock enable */
  __HAL_RCC_DMA2_CLK_ENABLE();
  __HAL_RCC_DMA1_CLK_ENABLE();

  /* DMA interrupt init */
  /* DMA1_Channel1_IRQn interrupt configuration */
  HAL_NVIC_SetPriority(DMA1_Channel1_IRQn, 0, 0);
  HAL_NVIC_EnableIRQ(DMA1_Channel1_IRQn);
  /* DMA2_Channel2_IRQn interrupt configuration */
  HAL_NVIC_SetPriority(DMA2_Channel2_IRQn, 0, 0);
  HAL_NVIC_EnableIRQ(DMA2_Channel2_IRQn);

}

/** Configure pins as
        * Analog
        * Input
        * Output
        * EVENT_OUT
        * EXTI
*/
static void MX_GPIO_Init(void)
{

  GPIO_InitTypeDef GPIO_InitStruct;

  /* GPIO Ports Clock Enable */
  __HAL_RCC_GPIOC_CLK_ENABLE();
  __HAL_RCC_GPIOF_CLK_ENABLE();
  __HAL_RCC_GPIOA_CLK_ENABLE();
  __HAL_RCC_GPIOB_CLK_ENABLE();
  __HAL_RCC_GPIOD_CLK_ENABLE();

  /*Configure GPIO pin Output Level */
  HAL_GPIO_WritePin(GPIOA, DO_DRIVER_EN_Pin|DO_SELECT_BRIDGE_DRIVER_Pin, GPIO_PIN_RESET);

  /*Configure GPIO pin Output Level */
  HAL_GPIO_WritePin(GPIOC, DO_LED_1_Pin|DO_DRIVER_DC_CAL_Pin, GPIO_PIN_RESET);

  /*Configure GPIO pin Output Level */
  HAL_GPIO_WritePin(DO_INC_POSITION_GPIO_Port, DO_INC_POSITION_Pin, GPIO_PIN_RESET);

  /*Configure GPIO pins : IR_COMP_B_Pin IR_COMP_A_Pin */
  GPIO_InitStruct.Pin = IR_COMP_B_Pin|IR_COMP_A_Pin;
  GPIO_InitStruct.Mode = GPIO_MODE_IT_RISING_FALLING;
  GPIO_InitStruct.Pull = GPIO_NOPULL;
  HAL_GPIO_Init(GPIOC, &GPIO_InitStruct);

  /*Configure GPIO pins : DI_INC_ENABLE_Pin DI_INC_CALIBRATE_Pin */
  GPIO_InitStruct.Pin = DI_INC_ENABLE_Pin|DI_INC_CALIBRATE_Pin;
  GPIO_InitStruct.Mode = GPIO_MODE_INPUT;
  GPIO_InitStruct.Pull = GPIO_NOPULL;
  HAL_GPIO_Init(GPIOF, &GPIO_InitStruct);

  /*Configure GPIO pins : DO_DRIVER_EN_Pin DO_SELECT_BRIDGE_DRIVER_Pin */
  GPIO_InitStruct.Pin = DO_DRIVER_EN_Pin|DO_SELECT_BRIDGE_DRIVER_Pin;
  GPIO_InitStruct.Mode = GPIO_MODE_OUTPUT_PP;
  GPIO_InitStruct.Pull = GPIO_NOPULL;
  GPIO_InitStruct.Speed = GPIO_SPEED_FREQ_LOW;
  HAL_GPIO_Init(GPIOA, &GPIO_InitStruct);

  /*Configure GPIO pins : DI_DRIVER_PWRGD_Pin DI_DRIVER_NOCTW_Pin DI_INC_B_Pin */
  GPIO_InitStruct.Pin = DI_DRIVER_PWRGD_Pin|DI_DRIVER_NOCTW_Pin|DI_INC_B_Pin;
  GPIO_InitStruct.Mode = GPIO_MODE_INPUT;
  GPIO_InitStruct.Pull = GPIO_NOPULL;
  HAL_GPIO_Init(GPIOC, &GPIO_InitStruct);

  /*Configure GPIO pins : DI_DRIVER_NFAULT_Pin DI_ENABLE_PRINT_Pin DI_USER_IN_Pin */
  GPIO_InitStruct.Pin = DI_DRIVER_NFAULT_Pin|DI_ENABLE_PRINT_Pin|DI_USER_IN_Pin;
  GPIO_InitStruct.Mode = GPIO_MODE_INPUT;
  GPIO_InitStruct.Pull = GPIO_NOPULL;
  HAL_GPIO_Init(GPIOB, &GPIO_InitStruct);

  /*Configure GPIO pins : DO_LED_1_Pin DO_DRIVER_DC_CAL_Pin */
  GPIO_InitStruct.Pin = DO_LED_1_Pin|DO_DRIVER_DC_CAL_Pin;
  GPIO_InitStruct.Mode = GPIO_MODE_OUTPUT_PP;
  GPIO_InitStruct.Pull = GPIO_NOPULL;
  GPIO_InitStruct.Speed = GPIO_SPEED_FREQ_LOW;
  HAL_GPIO_Init(GPIOC, &GPIO_InitStruct);

  /*Configure GPIO pin : IR_INC_REF_Pin */
  GPIO_InitStruct.Pin = IR_INC_REF_Pin;
  GPIO_InitStruct.Mode = GPIO_MODE_IT_RISING;
  GPIO_InitStruct.Pull = GPIO_NOPULL;
  HAL_GPIO_Init(IR_INC_REF_GPIO_Port, &GPIO_InitStruct);

  /*Configure GPIO pin : IR_INC_A_Pin */
  GPIO_InitStruct.Pin = IR_INC_A_Pin;
  GPIO_InitStruct.Mode = GPIO_MODE_IT_RISING;
  GPIO_InitStruct.Pull = GPIO_NOPULL;
  HAL_GPIO_Init(IR_INC_A_GPIO_Port, &GPIO_InitStruct);

  /*Configure GPIO pin : DO_INC_POSITION_Pin */
  GPIO_InitStruct.Pin = DO_INC_POSITION_Pin;
  GPIO_InitStruct.Mode = GPIO_MODE_OUTPUT_PP;
  GPIO_InitStruct.Pull = GPIO_NOPULL;
  GPIO_InitStruct.Speed = GPIO_SPEED_FREQ_LOW;
  HAL_GPIO_Init(DO_INC_POSITION_GPIO_Port, &GPIO_InitStruct);

  /*Configure GPIO pin : IR_COMP_C_Pin */
  GPIO_InitStruct.Pin = IR_COMP_C_Pin;
  GPIO_InitStruct.Mode = GPIO_MODE_IT_RISING_FALLING;
  GPIO_InitStruct.Pull = GPIO_NOPULL;
  HAL_GPIO_Init(IR_COMP_C_GPIO_Port, &GPIO_InitStruct);

  /* EXTI interrupt init*/
  HAL_NVIC_SetPriority(EXTI0_IRQn, 0, 0);
  HAL_NVIC_EnableIRQ(EXTI0_IRQn);

  HAL_NVIC_SetPriority(EXTI2_TSC_IRQn, 0, 0);
  HAL_NVIC_EnableIRQ(EXTI2_TSC_IRQn);

  HAL_NVIC_SetPriority(EXTI4_IRQn, 0, 0);
  HAL_NVIC_EnableIRQ(EXTI4_IRQn);

  HAL_NVIC_SetPriority(EXTI9_5_IRQn, 0, 0);
  HAL_NVIC_EnableIRQ(EXTI9_5_IRQn);

  HAL_NVIC_SetPriority(EXTI15_10_IRQn, 0, 0);
  HAL_NVIC_EnableIRQ(EXTI15_10_IRQn);

}

void _Error_Handler(char * file, int line)
{
  /* USER CODE BEGIN Error_Handler_Debug */
	/* User can add his own implementation to report the HAL error return state */
	PLATFORM_ERROR;
  /* USER CODE END Error_Handler_Debug */
}

/************************ (C) COPYRIGHT STMicroelectronics *****END OF FILE****/
